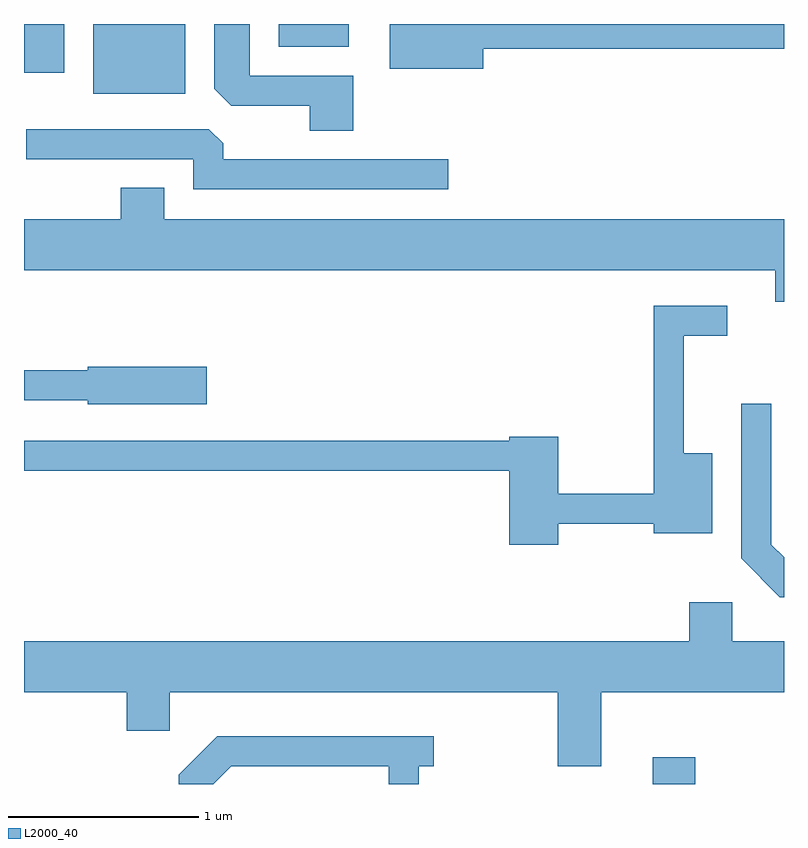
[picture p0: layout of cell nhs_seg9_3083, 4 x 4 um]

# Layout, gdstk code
import gdstk
lib = gdstk.Library(unit=1e-6, precision=1e-09)
def R(c, l, rs):  # rectangles x0, y0, x1, y1
    for r in rs: c.add(gdstk.rectangle(r[:2], r[2:], *l))
def P(c, l, *ps):  # polygons
    for p in ps: c.add(gdstk.Polygon(p, *l))
L2000_40 = (2000, 40)

nhs_seg9_3083 = lib.new_cell('nhs_seg9_3083')
R(nhs_seg9_3083, L2000_40, [(278.921,2002.432,279.144,2002.574), (275.976,2006.066,276.459,2006.432), (275.611,2006.176,275.824,2006.432), (276.951,2006.311,277.319,2006.432)])
P(nhs_seg9_3083, L2000_40, [(277.344,2006.159),(276.799,2006.159),(276.799,2006.432),(276.611,2006.432),(276.611,2006.092),(276.702,2006.001),(277.116,2006.001),(277.116,2005.871),(277.344,2005.871)],
  [(278.029,2006.301),(279.611,2006.301),(279.611,2006.432),(277.536,2006.432),(277.536,2006.196),(278.029,2006.196)],
  [(277.843,2005.719),(276.659,2005.719),(276.659,2005.804),(276.584,2005.879),(275.623,2005.879),(275.623,2005.721),(276.501,2005.721),(276.501,2005.561),(277.843,2005.561)],
  [(279.611,2005.404),(276.349,2005.404),(276.349,2005.569),(276.121,2005.569),(276.121,2005.404),(275.611,2005.404),(275.611,2005.136),(279.566,2005.136),(279.566,2004.971),(279.611,2004.971)],
  [(278.424,2003.801),(278.926,2003.801),(278.926,2003.751),(279.234,2003.751),(279.234,2004.174),(279.084,2004.174),(279.084,2004.791),(279.313,2004.791),(279.313,2004.949),(278.926,2004.949),(278.926,2003.959),(278.424,2003.959),(278.424,2004.259),(278.166,2004.259),(278.166,2004.239),(275.611,2004.239),(275.611,2004.081),(278.166,2004.081),(278.166,2003.691),(278.424,2003.691)],
  [(276.574,2004.629),(275.946,2004.629),(275.946,2004.609),(275.611,2004.609),(275.611,2004.451),(275.946,2004.451),(275.946,2004.431),(276.574,2004.431)],
  [(279.611,2003.625),(279.544,2003.692),(279.544,2004.433),(279.386,2004.433),(279.386,2003.619),(279.589,2003.416),(279.611,2003.416)],
  [(278.649,2002.916),(279.611,2002.916),(279.611,2003.184),(279.339,2003.184),(279.339,2003.389),(279.111,2003.389),(279.111,2003.184),(275.611,2003.184),(275.611,2002.916),(276.151,2002.916),(276.151,2002.711),(276.379,2002.711),(276.379,2002.916),(278.421,2002.916),(278.421,2002.526),(278.649,2002.526)],
  [(276.702,2002.526),(277.531,2002.526),(277.531,2002.432),(277.689,2002.432),(277.689,2002.526),(277.768,2002.526),(277.768,2002.684),(276.629,2002.684),(276.426,2002.482),(276.426,2002.432),(276.607,2002.432)])

lib.write_gds('nhs_seg9_3083.gds')
